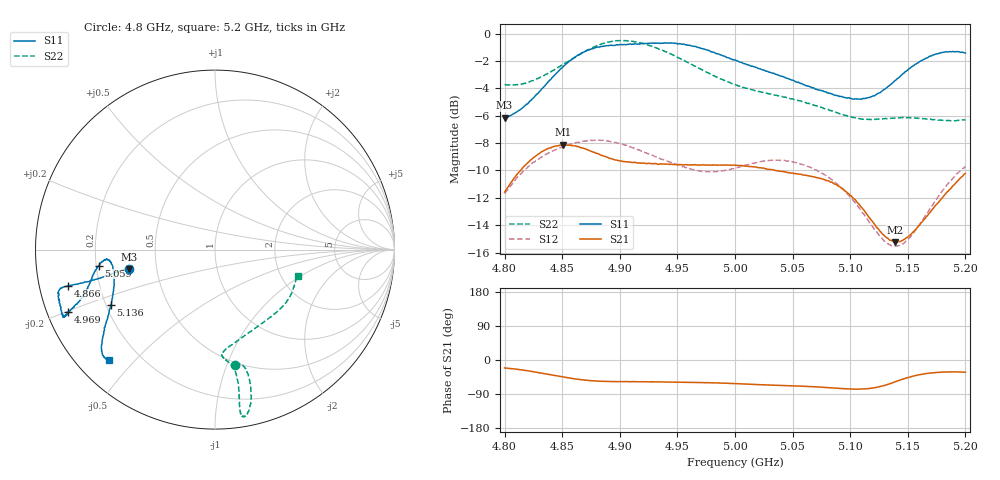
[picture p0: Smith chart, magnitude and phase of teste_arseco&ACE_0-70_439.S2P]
! Network Analyzer HP8722D
! Hewlett-Packard
! Data name: Linha & Wilkinson
! Saver's name: Rodrigo Anjos
! Comments: Teste da utilização de aquisição
! continua pelo VNA HP8722D
! Time and date: 8/5/2025 16:25
!  Frequency  S11  S21  S12  S22
# HZ  S  MA R 50
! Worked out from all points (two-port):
!   401 points, 4.8 GHz to 5.2 GHz, reference 50 ohm
!   highest |S21| = -8.11 dB at 4.851 GHz (marker M1); lowest = -15.2 dB at 5.139 GHz (marker M2)
!   |S21| within 3 dB of the highest: 4.804 GHz to 5.089 GHz (285.6 MHz wide, 5.77 % of centre); 5.189326 GHz to end of sweep
!   lowest |S11| = -6.1 dB at 4.8 GHz (marker M3), VSWR 2.94, Z = 17.2 - j4.89 ohm
!   |S11| at or under -10 dB: nowhere
!   |S22| runs from -6.4 to -0.5 dB; largest |S21 - S12| = 0.62
!   S11 on the Smith chart (normalised r, x): 4.8 GHz: 0.34, -0.10; 4.866 GHz: 0.09, -0.12; 4.969 GHz: 0.06, -0.20; 5.059 GHz: 0.21, -0.07; 5.136 GHz: 0.22, -0.24; 5.2 GHz: 0.10, -0.42
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4.8e9  0.4927 -167.4  0.2636 -21.0  0.2603 -142.1  0.6519 -80.1
4.822e9  0.5678 -167.1  0.3437 -29.5  0.33 -145.4  0.6681 -76.2
4.851e9  0.7596 -165.9  0.3929 -45.1  0.3868 -150.8  0.7734 -75.2
4.866e9  0.8435 -166.1  0.3831 -51.7  0.4027 -153.0  0.8444 -76.2
4.867e9  0.8521 -166.1  0.3831 -52.1  0.4036 -153.3  0.8505 -76.3
4.88e9  0.8924 -165.7  0.3654 -55.7  0.4084 -155.2  0.904 -77.6
4.899e9  0.9107 -163.3  0.3435 -57.2  0.3981 -157.5  0.9436 -79.9
4.934e9  0.9256 -156.8  0.3335 -57.9  0.3517 -156.2  0.8783 -81.0
4.969e9  0.8912 -156.9  0.3304 -59.3  0.3149 -147.7  0.7468 -80.1
5e9  0.8025 -159.6  0.3306 -62.5  0.3233 -137.8  0.6517 -81.8
5.035e9  0.7116 -165.9  0.3164 -66.7  0.3454 -135.3  0.5958 -86.0
5.059e9  0.653 -172.2  0.3045 -69.3  0.3325 -137.3  0.5632 -84.5
5.067e9  0.6337 -173.7  0.3007 -70.3  0.3228 -138.0  0.551 -82.7
5.082e9  0.6053 -174.9  0.2888 -73.1  0.297 -139.5  0.5243 -76.8
5.101e9  0.5795 -171.6  0.2553 -76.5  0.2502 -139.6  0.4965 -65.8
5.116e9  0.5844 -164.2  0.214 -75.5  0.2066 -135.2  0.4861 -54.8
5.134e9  0.6462 -153.1  0.1762 -63.1  0.1694 -118.5  0.4909 -42.9
5.136e9  0.6576 -152.0  0.1755 -61.1  0.1677 -116.0  0.4908 -41.6
5.139e9  0.6744 -150.5  0.1734 -57.8  0.1674 -111.9  0.4923 -39.9
5.151e9  0.7447 -145.2  0.1821 -45.5  0.1788 -96.8  0.4937 -33.7
5.172e9  0.8366 -139.2  0.2294 -33.5  0.2382 -81.2  0.4847 -24.5
5.2e9  0.8503 -133.9  0.3082 -32.2  0.3271 -77.8  0.484 -17.7
